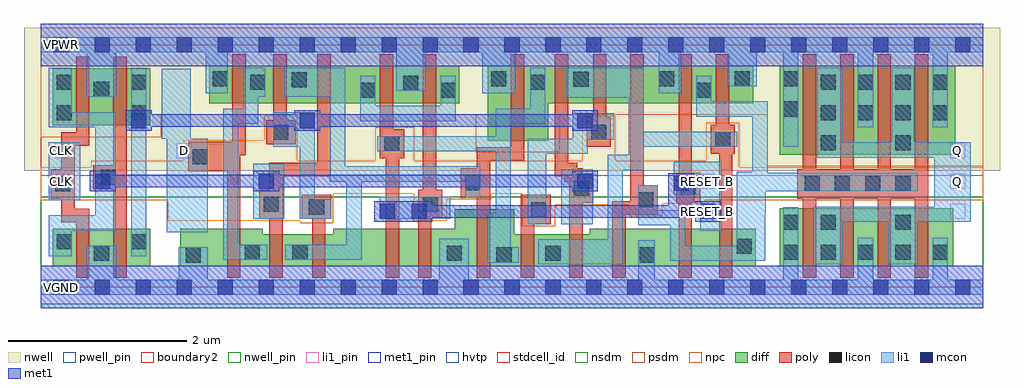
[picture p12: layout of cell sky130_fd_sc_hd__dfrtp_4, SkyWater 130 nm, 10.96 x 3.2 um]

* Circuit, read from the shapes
.subckt sky130_fd_sc_hd__dfrtp_4 CLK D Q RESET_B VGND VNB VPB VPWR
XM1 VGND CLK n1 VNB sky130_fd_pr__nfet_01v8 w=0.42 l=0.15
XM2 n2 n1 VGND VNB sky130_fd_pr__nfet_01v8 w=0.42 l=0.15
XM3 n3 D VGND VNB sky130_fd_pr__nfet_01v8 w=0.42 l=0.15
XM4 n4 n1 n3 VNB sky130_fd_pr__nfet_01v8 w=0.36 l=0.15
XM5 n5 n2 n4 VNB sky130_fd_pr__nfet_01v8 w=0.36 l=0.15
XM6 n6 n7 n5 VNB sky130_fd_pr__nfet_01v8 w=0.42 l=0.15
XM7 VGND RESET_B n6 VNB sky130_fd_pr__nfet_01v8 w=0.42 l=0.15
XM8 n7 n4 VGND VNB sky130_fd_pr__nfet_01v8 w=0.64 l=0.15
XM9 n8 n2 n7 VNB sky130_fd_pr__nfet_01v8 w=0.36 l=0.15
XM10 n9 n1 n8 VNB sky130_fd_pr__nfet_01v8 w=0.36 l=0.15
XM11 VGND n10 n9 VNB sky130_fd_pr__nfet_01v8 w=0.42 l=0.15
XM12 n11 RESET_B VGND VNB sky130_fd_pr__nfet_01v8 w=0.42 l=0.15
XM13 n10 n8 n11 VNB sky130_fd_pr__nfet_01v8 w=0.42 l=0.15
XM14 Q n10 VGND VNB sky130_fd_pr__nfet_01v8 w=0.65 l=0.15 m=4
XM15 VPWR CLK n1 VPB sky130_fd_pr__pfet_01v8_hvt w=0.64 l=0.15
XM16 n2 n1 VPWR VPB sky130_fd_pr__pfet_01v8_hvt w=0.64 l=0.15
XM17 n3 D VPWR VPB sky130_fd_pr__pfet_01v8_hvt w=0.42 l=0.15
XM18 n4 n2 n3 VPB sky130_fd_pr__pfet_01v8_hvt w=0.42 l=0.15
XM19 n12 n1 n4 VPB sky130_fd_pr__pfet_01v8_hvt w=0.42 l=0.15
XM20 VPWR n7 n12 VPB sky130_fd_pr__pfet_01v8_hvt w=0.42 l=0.15
XM21 n12 RESET_B VPWR VPB sky130_fd_pr__pfet_01v8_hvt w=0.42 l=0.15
XM22 n7 n4 VPWR VPB sky130_fd_pr__pfet_01v8_hvt w=0.84 l=0.15
XM23 n8 n1 n7 VPB sky130_fd_pr__pfet_01v8_hvt w=0.42 l=0.15
XM24 n13 n2 n8 VPB sky130_fd_pr__pfet_01v8_hvt w=0.42 l=0.15
XM25 VPWR n10 n13 VPB sky130_fd_pr__pfet_01v8_hvt w=0.42 l=0.15
XM26 n10 RESET_B VPWR VPB sky130_fd_pr__pfet_01v8_hvt w=0.42 l=0.15
XM27 VPWR n8 n10 VPB sky130_fd_pr__pfet_01v8_hvt w=0.42 l=0.15
XM28 Q n10 VPWR VPB sky130_fd_pr__pfet_01v8_hvt w=1 l=0.15 m=4
.ends

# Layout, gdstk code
import gdstk
lib = gdstk.Library(unit=1e-6, precision=1e-09)
def R(c, l, rs):  # rectangles x0, y0, x1, y1
    for r in rs: c.add(gdstk.rectangle(r[:2], r[2:], *l))
def P(c, l, *ps):  # polygons
    for p in ps: c.add(gdstk.Polygon(p, *l))
nwell_pin = (64, 16)
nwell = (64, 20)
diff = (65, 20)
poly = (66, 20)
licon = (66, 44)
li1_pin = (67, 16)
li1 = (67, 20)
mcon = (67, 44)
met1_pin = (68, 16)
met1 = (68, 20)
hvtp = (78, 44)
stdcell_id = (81, 4)
nsdm = (93, 44)
psdm = (94, 20)
npc = (95, 20)
pwell_pin = (122, 16)
boundary2 = (236, 0)

sky130_fd_sc_hd__dfrtp_4 = lib.new_cell('sky130_fd_sc_hd__dfrtp_4')
R(sky130_fd_sc_hd__dfrtp_4, nwell_pin, [(0.145,2.635,0.315,2.805), (0.145,2.635,0.315,2.805)])
R(sky130_fd_sc_hd__dfrtp_4, nwell, [(-0.19,1.305,10.77,2.91), (-0.19,1.305,10.77,2.91)])
R(sky130_fd_sc_hd__dfrtp_4, diff, [(0.135,0.235,1.225,0.655), (0.135,0.235,1.225,0.655), (8.295,0.235,10.245,0.885), (8.295,0.235,10.245,0.885), (8.295,1.485,10.27,2.485), (8.295,1.485,10.27,2.485), (0.135,1.815,1.225,2.455), (0.135,1.815,1.225,2.455), (3.305,2.065,4.7,2.485), (3.305,2.065,4.7,2.485)])
P(sky130_fd_sc_hd__dfrtp_4, diff, [(5.015,1.645),(5.015,2.485),(8,2.485),(8,2.065),(5.695,2.065),(5.695,1.645)],
  [(1.565,0.235),(1.565,0.655),(2.49,0.655),(2.49,0.595),(3.285,0.595),(3.285,0.655),(4.645,0.655),(4.645,0.875),(5.315,0.875),(5.315,0.595),(6.165,0.595),(6.165,0.655),(8.025,0.655),(8.025,0.235)],
  [(1.89,2.065),(1.89,2.485),(3.335,2.485),(3.335,2.48),(3.33,2.48),(3.33,2.065)],
  [(5.015,1.645),(5.015,2.485),(8,2.485),(8,2.065),(5.695,2.065),(5.695,1.645)],
  [(1.565,0.235),(1.565,0.655),(2.49,0.655),(2.49,0.595),(3.285,0.595),(3.285,0.655),(4.645,0.655),(4.645,0.875),(5.315,0.875),(5.315,0.595),(6.165,0.595),(6.165,0.655),(8.025,0.655),(8.025,0.235)],
  [(1.89,2.065),(1.89,2.485),(3.335,2.485),(3.335,2.48),(3.33,2.48),(3.33,2.065)])
R(sky130_fd_sc_hd__dfrtp_4, poly, [(3.875,0.105,4.025,1.515), (3.875,0.105,4.025,1.515), (4.29,1.055,4.44,2.615), (4.29,1.055,4.44,2.615), (3.805,1.445,4.08,1.775), (3.805,1.445,4.08,1.775), (3.805,1.76,3.955,2.615), (3.805,1.76,3.955,2.615)])
P(sky130_fd_sc_hd__dfrtp_4, poly, [(7.615,0.105),(7.615,1.495),(7.52,1.495),(7.52,1.825),(7.58,1.825),(7.58,2.615),(7.73,2.615),(7.73,1.825),(7.79,1.825),(7.79,1.495),(7.765,1.495),(7.765,0.105)],
  [(0.395,0.105),(0.395,0.73),(0.23,0.73),(0.23,0.995),(0.11,0.995),(0.11,1.325),(0.23,1.325),(0.23,1.74),(0.395,1.74),(0.395,2.585),(0.545,2.585),(0.545,1.59),(0.38,1.59),(0.38,0.88),(0.545,0.88),(0.545,0.105)],
  [(0.815,0.105),(0.815,1.1),(0.59,1.1),(0.59,1.37),(0.815,1.37),(0.815,2.585),(0.965,2.585),(0.965,0.105)],
  [(2.09,0.105),(2.09,1.3),(1.655,1.3),(1.655,1.63),(2.15,1.63),(2.15,2.615),(2.3,2.615),(2.3,1.48),(2.24,1.48),(2.24,0.105)],
  [(2.565,0.105),(2.565,0.765),(2.45,0.765),(2.45,1.095),(2.565,1.095),(2.565,1.395),(3.105,1.395),(3.105,2.615),(3.255,2.615),(3.255,1.245),(2.72,1.245),(2.72,0.765),(2.715,0.765),(2.715,0.105)],
  [(2.53,1.605),(2.53,1.875),(2.61,1.875),(2.61,2.615),(2.76,2.615),(2.76,1.875),(2.86,1.875),(2.86,1.605)],
  [(3.045,0.105),(3.045,0.765),(2.93,0.765),(2.93,1.035),(3.26,1.035),(3.26,0.765),(3.195,0.765),(3.195,0.105)],
  [(4.235,0.105),(4.235,1.095),(4.505,1.095),(4.505,0.765),(4.385,0.765),(4.385,0.105)],
  [(4.895,0.105),(4.895,1.005),(4.715,1.005),(4.715,1.335),(4.895,1.335),(4.895,1.57),(5.275,1.57),(5.275,2.615),(5.425,2.615),(5.425,1.42),(5.045,1.42),(5.045,0.105)],
  [(5.39,0.105),(5.39,1.035),(5.725,1.035),(5.725,0.705),(5.54,0.705),(5.54,0.105)],
  [(5.935,0.105),(5.935,1.185),(5.875,1.185),(5.875,1.245),(5.77,1.245),(5.77,2.615),(5.92,2.615),(5.92,1.395),(6.02,1.395),(6.02,1.335),(6.085,1.335),(6.085,1.275),(6.205,1.275),(6.205,0.945),(6.085,0.945),(6.085,0.105)],
  [(6.13,1.575),(6.13,1.905),(6.2,1.905),(6.2,2.615),(6.35,2.615),(6.35,1.905),(6.4,1.905),(6.4,1.575)],
  [(6.415,0.105),(6.415,0.965),(6.62,0.965),(6.62,2.615),(6.77,2.615),(6.77,1.145),(6.925,1.145),(6.925,0.815),(6.565,0.815),(6.565,0.105)],
  [(7.16,0.105),(7.16,0.955),(7.135,0.955),(7.135,1.285),(7.16,1.285),(7.16,2.615),(7.31,2.615),(7.31,1.285),(7.405,1.285),(7.405,0.955),(7.31,0.955),(7.31,0.105)],
  [(8.555,0.105),(8.555,0.995),(8.495,0.995),(8.495,1.325),(8.555,1.325),(8.555,2.615),(8.705,2.615),(8.705,1.325),(8.975,1.325),(8.975,2.615),(9.125,2.615),(9.125,1.325),(9.395,1.325),(9.395,2.615),(9.545,2.615),(9.545,1.325),(9.815,1.325),(9.815,2.615),(9.965,2.615),(9.965,0.105),(9.815,0.105),(9.815,0.995),(9.545,0.995),(9.545,0.105),(9.395,0.105),(9.395,0.995),(9.125,0.995),(9.125,0.105),(8.975,0.105),(8.975,0.995),(8.705,0.995),(8.705,0.105)],
  [(7.615,0.105),(7.615,1.495),(7.52,1.495),(7.52,1.825),(7.58,1.825),(7.58,2.615),(7.73,2.615),(7.73,1.825),(7.79,1.825),(7.79,1.495),(7.765,1.495),(7.765,0.105)],
  [(0.395,0.105),(0.395,0.73),(0.23,0.73),(0.23,0.995),(0.11,0.995),(0.11,1.325),(0.23,1.325),(0.23,1.74),(0.395,1.74),(0.395,2.585),(0.545,2.585),(0.545,1.59),(0.38,1.59),(0.38,0.88),(0.545,0.88),(0.545,0.105)],
  [(0.815,0.105),(0.815,1.1),(0.59,1.1),(0.59,1.37),(0.815,1.37),(0.815,2.585),(0.965,2.585),(0.965,0.105)],
  [(2.09,0.105),(2.09,1.3),(1.655,1.3),(1.655,1.63),(2.15,1.63),(2.15,2.615),(2.3,2.615),(2.3,1.48),(2.24,1.48),(2.24,0.105)],
  [(2.565,0.105),(2.565,0.765),(2.45,0.765),(2.45,1.095),(2.565,1.095),(2.565,1.395),(3.105,1.395),(3.105,2.615),(3.255,2.615),(3.255,1.245),(2.72,1.245),(2.72,0.765),(2.715,0.765),(2.715,0.105)],
  [(2.53,1.605),(2.53,1.875),(2.61,1.875),(2.61,2.615),(2.76,2.615),(2.76,1.875),(2.86,1.875),(2.86,1.605)],
  [(3.045,0.105),(3.045,0.765),(2.93,0.765),(2.93,1.035),(3.26,1.035),(3.26,0.765),(3.195,0.765),(3.195,0.105)],
  [(4.235,0.105),(4.235,1.095),(4.505,1.095),(4.505,0.765),(4.385,0.765),(4.385,0.105)],
  [(4.895,0.105),(4.895,1.005),(4.715,1.005),(4.715,1.335),(4.895,1.335),(4.895,1.57),(5.275,1.57),(5.275,2.615),(5.425,2.615),(5.425,1.42),(5.045,1.42),(5.045,0.105)],
  [(5.39,0.105),(5.39,1.035),(5.725,1.035),(5.725,0.705),(5.54,0.705),(5.54,0.105)],
  [(5.935,0.105),(5.935,1.185),(5.875,1.185),(5.875,1.245),(5.77,1.245),(5.77,2.615),(5.92,2.615),(5.92,1.395),(6.02,1.395),(6.02,1.335),(6.085,1.335),(6.085,1.275),(6.205,1.275),(6.205,0.945),(6.085,0.945),(6.085,0.105)],
  [(6.13,1.575),(6.13,1.905),(6.2,1.905),(6.2,2.615),(6.35,2.615),(6.35,1.905),(6.4,1.905),(6.4,1.575)],
  [(6.415,0.105),(6.415,0.965),(6.62,0.965),(6.62,2.615),(6.77,2.615),(6.77,1.145),(6.925,1.145),(6.925,0.815),(6.565,0.815),(6.565,0.105)],
  [(7.16,0.105),(7.16,0.955),(7.135,0.955),(7.135,1.285),(7.16,1.285),(7.16,2.615),(7.31,2.615),(7.31,1.285),(7.405,1.285),(7.405,0.955),(7.31,0.955),(7.31,0.105)],
  [(8.555,0.105),(8.555,0.995),(8.495,0.995),(8.495,1.325),(8.555,1.325),(8.555,2.615),(8.705,2.615),(8.705,1.325),(8.975,1.325),(8.975,2.615),(9.125,2.615),(9.125,1.325),(9.395,1.325),(9.395,2.615),(9.545,2.615),(9.545,1.325),(9.815,1.325),(9.815,2.615),(9.965,2.615),(9.965,0.105),(9.815,0.105),(9.815,0.995),(9.545,0.995),(9.545,0.105),(9.395,0.105),(9.395,0.995),(9.125,0.995),(9.125,0.105),(8.975,0.105),(8.975,0.995),(8.705,0.995),(8.705,0.105)])
R(sky130_fd_sc_hd__dfrtp_4, licon, [(1.625,0.275,1.795,0.445), (1.625,0.275,1.795,0.445), (5.115,0.275,5.285,0.445), (5.115,0.275,5.285,0.445), (6.725,0.275,6.895,0.445), (6.725,0.275,6.895,0.445), (0.595,0.295,0.765,0.465), (0.595,0.295,0.765,0.465), (4.555,0.295,4.725,0.465), (4.555,0.295,4.725,0.465), (5.665,0.295,5.835,0.465), (5.665,0.295,5.835,0.465), (2.29,0.305,2.46,0.475), (2.29,0.305,2.46,0.475), (2.825,0.305,2.995,0.475), (2.825,0.305,2.995,0.475), (8.335,0.305,8.505,0.475), (8.335,0.305,8.505,0.475), (8.755,0.305,8.925,0.475), (8.755,0.305,8.925,0.475), (9.175,0.305,9.345,0.475), (9.175,0.305,9.345,0.475), (9.595,0.305,9.765,0.475), (9.595,0.305,9.765,0.475), (10.015,0.305,10.185,0.475), (10.015,0.305,10.185,0.475), (7.815,0.375,7.985,0.545), (7.815,0.375,7.985,0.545), (0.175,0.425,0.345,0.595), (0.175,0.425,0.345,0.595), (1.015,0.425,1.185,0.595), (1.015,0.425,1.185,0.595), (8.335,0.645,8.505,0.815), (8.335,0.645,8.505,0.815), (8.755,0.645,8.925,0.815), (8.755,0.645,8.925,0.815), (9.595,0.645,9.765,0.815), (9.595,0.645,9.765,0.815), (5.505,0.785,5.675,0.955), (5.505,0.785,5.675,0.955), (3.01,0.815,3.18,0.985), (3.01,0.815,3.18,0.985), (2.5,0.845,2.67,1.015), (2.5,0.845,2.67,1.015), (4.285,0.845,4.455,1.015), (4.285,0.845,4.455,1.015), (6.705,0.895,6.875,1.065), (6.705,0.895,6.875,1.065), (5.985,1.025,6.155,1.195), (5.985,1.025,6.155,1.195), (7.185,1.035,7.355,1.205), (7.185,1.035,7.355,1.205), (0.16,1.075,0.33,1.245), (0.16,1.075,0.33,1.245), (8.575,1.075,8.745,1.245), (8.575,1.075,8.745,1.245), (8.915,1.075,9.085,1.245), (8.915,1.075,9.085,1.245), (9.255,1.075,9.425,1.245), (9.255,1.075,9.425,1.245), (9.595,1.075,9.765,1.245), (9.595,1.075,9.765,1.245), (4.765,1.085,4.935,1.255), (4.765,1.085,4.935,1.255), (0.67,1.15,0.84,1.32), (0.67,1.15,0.84,1.32), (1.705,1.38,1.875,1.55), (1.705,1.38,1.875,1.55), (3.855,1.525,4.025,1.695), (3.855,1.525,4.025,1.695), (8.755,1.535,8.925,1.705), (8.755,1.535,8.925,1.705), (9.595,1.535,9.765,1.705), (9.595,1.535,9.765,1.705), (7.57,1.575,7.74,1.745), (7.57,1.575,7.74,1.745), (2.61,1.655,2.78,1.825), (2.61,1.655,2.78,1.825), (6.18,1.655,6.35,1.825), (6.18,1.655,6.35,1.825), (0.175,1.875,0.345,2.045), (0.175,1.875,0.345,2.045), (1.015,1.875,1.185,2.045), (1.015,1.875,1.185,2.045), (8.755,1.875,8.925,2.045), (8.755,1.875,8.925,2.045), (9.175,1.875,9.345,2.045), (9.175,1.875,9.345,2.045), (9.595,1.875,9.765,2.045), (9.595,1.875,9.765,2.045), (10.015,1.875,10.185,2.045), (10.015,1.875,10.185,2.045), (8.335,1.915,8.505,2.085), (8.335,1.915,8.505,2.085), (3.585,2.125,3.755,2.295), (3.585,2.125,3.755,2.295), (4.49,2.125,4.66,2.295), (4.49,2.125,4.66,2.295), (7.36,2.125,7.53,2.295), (7.36,2.125,7.53,2.295), (0.595,2.135,0.765,2.305), (0.595,2.135,0.765,2.305), (4.07,2.205,4.24,2.375), (4.07,2.205,4.24,2.375), (0.175,2.215,0.345,2.385), (0.175,2.215,0.345,2.385), (1.015,2.215,1.185,2.385), (1.015,2.215,1.185,2.385), (2.35,2.215,2.52,2.385), (2.35,2.215,2.52,2.385), (5.495,2.215,5.665,2.385), (5.495,2.215,5.665,2.385), (8.755,2.215,8.925,2.385), (8.755,2.215,8.925,2.385), (9.175,2.215,9.345,2.385), (9.175,2.215,9.345,2.385), (9.595,2.215,9.765,2.385), (9.595,2.215,9.765,2.385), (10.015,2.215,10.185,2.385), (10.015,2.215,10.185,2.385), (2.815,2.245,2.985,2.415), (2.815,2.245,2.985,2.415), (5.98,2.25,6.15,2.42), (5.98,2.25,6.15,2.42), (1.93,2.255,2.1,2.425), (1.93,2.255,2.1,2.425), (5.055,2.255,5.225,2.425), (5.055,2.255,5.225,2.425), (6.94,2.255,7.11,2.425), (6.94,2.255,7.11,2.425), (7.79,2.255,7.96,2.425), (7.79,2.255,7.96,2.425), (8.335,2.255,8.505,2.425), (8.335,2.255,8.505,2.425)])
R(sky130_fd_sc_hd__dfrtp_4, li1_pin, [(7.405,0.765,7.575,0.935), (7.405,0.765,7.575,0.935), (10.21,0.765,10.38,0.935), (10.21,0.765,10.38,0.935), (0.15,1.105,0.32,1.275), (0.15,1.105,0.32,1.275), (7.405,1.105,7.575,1.275), (7.405,1.105,7.575,1.275), (10.21,1.105,10.38,1.275), (10.21,1.105,10.38,1.275), (0.15,1.445,0.32,1.615), (0.15,1.445,0.32,1.615), (1.525,1.445,1.695,1.615), (1.525,1.445,1.695,1.615), (10.21,1.445,10.38,1.615), (10.21,1.445,10.38,1.615)])
R(sky130_fd_sc_hd__dfrtp_4, li1, [(0,-0.085,9.2,0.085), (0,-0.085,9.2,0.085), (9.175,-0.085,9.345,0.555), (9.175,-0.085,9.345,0.555), (10.015,-0.085,10.185,0.555), (10.015,-0.085,10.185,0.555), (8.335,-0.04,8.505,0.895), (8.335,-0.04,8.505,0.895), (1.545,-0.03,1.875,0.445), (1.545,-0.03,1.875,0.445), (4.475,0.055,4.805,0.545), (4.475,0.055,4.805,0.545), (0.515,0.06,0.845,0.465), (0.515,0.06,0.845,0.465), (6.705,0.065,6.895,0.525), (6.705,0.065,6.895,0.525), (1.015,0.345,1.185,2.465), (1.015,0.345,1.185,2.465), (1.415,0.615,1.875,1.665), (1.415,0.615,1.875,1.665), (5.845,0.705,6.195,1.325), (5.845,0.705,6.195,1.325), (2.385,0.765,2.735,1.385), (2.385,0.765,2.735,1.385), (3.805,0.765,4.595,1.015), (3.805,0.765,4.595,1.015), (0.09,0.975,0.44,1.625), (0.09,0.975,0.44,1.625), (3.775,1.525,5.13,1.695), (3.775,1.525,5.13,1.695), (8.335,1.575,8.505,2.72), (8.335,1.575,8.505,2.72), (1.355,1.665,1.68,2.45), (1.355,1.665,1.68,2.45), (9.175,1.795,9.345,2.72), (9.175,1.795,9.345,2.72), (10.015,1.795,10.185,2.72), (10.015,1.795,10.185,2.72), (0.515,2.135,0.845,2.665), (0.515,2.135,0.845,2.665), (4.955,2.175,5.325,2.675), (4.955,2.175,5.325,2.675), (6.94,2.175,7.19,2.69), (6.94,2.175,7.19,2.69), (3.99,2.205,4.32,2.69), (3.99,2.205,4.32,2.69), (7.71,2.255,8.04,2.7), (7.71,2.255,8.04,2.7)])
P(sky130_fd_sc_hd__dfrtp_4, li1, [(0.09,0.345),(0.09,0.805),(0.61,0.805),(0.61,1.795),(0.09,1.795),(0.09,2.465),(0.345,2.465),(0.345,1.965),(0.84,1.965),(0.84,0.635),(0.345,0.635),(0.345,0.345)],
  [(2.045,0.305),(2.045,2.005),(2.27,2.005),(2.27,2.465),(2.52,2.465),(2.52,2.135),(2.44,2.135),(2.44,1.835),(2.215,1.835),(2.215,0.475),(2.54,0.475),(2.54,0.305)],
  [(2.905,0.765),(2.905,1.575),(2.61,1.575),(2.61,1.965),(3.075,1.965),(3.075,0.985),(3.26,0.985),(3.26,0.765)],
  [(2.745,0.305),(2.745,0.475),(3.43,0.475),(3.43,1.185),(3.245,1.185),(3.245,2.135),(2.735,2.135),(2.735,2.465),(3.415,2.465),(3.415,1.355),(4.935,1.355),(4.935,1.005),(4.765,1.005),(4.765,1.185),(3.6,1.185),(3.6,0.305)],
  [(5.015,0.275),(5.015,0.835),(5.105,0.835),(5.105,2.005),(5.495,2.005),(5.495,2.465),(5.665,2.465),(5.665,1.835),(5.275,1.835),(5.275,0.445),(5.365,0.445),(5.365,0.275)],
  [(5.465,0.705),(5.465,1.665),(5.97,1.665),(5.97,1.955),(6.43,1.955),(6.43,1.655),(6.14,1.655),(6.14,1.495),(5.675,1.495),(5.675,0.705)],
  [(7.405,0.635),(7.405,1.035),(7.105,1.035),(7.105,1.405),(7.645,1.405),(7.645,0.635)],
  [(5.585,0.255),(5.585,0.535),(6.365,0.535),(6.365,1.485),(6.6,1.485),(6.6,2.125),(5.9,2.125),(5.9,2.465),(6.77,2.465),(6.77,1.745),(7.82,1.745),(7.82,1.575),(6.77,1.575),(6.77,1.315),(6.535,1.315),(6.535,0.255)],
  [(1.85,2.175),(1.85,2.635),(0,2.635),(0,2.805),(9.2,2.805),(9.2,2.635),(2.1,2.635),(2.1,2.175)],
  [(7.065,0.295),(7.065,0.695),(6.705,0.695),(6.705,1.145),(6.925,1.145),(6.925,0.865),(7.235,0.865),(7.235,0.465),(7.815,0.465),(7.815,1.295),(7.99,1.295),(7.99,1.915),(7.36,1.915),(7.36,2.375),(7.53,2.375),(7.53,2.085),(8.16,2.085),(8.16,1.285),(9.845,1.285),(9.845,1.075),(8.14,1.075),(8.14,0.82),(8.135,0.82),(8.135,0.295)],
  [(8.675,0.255),(8.675,0.905),(10.03,0.905),(10.03,1.455),(8.715,1.455),(8.715,2.465),(9.005,2.465),(9.005,1.625),(9.555,1.625),(9.555,2.465),(9.805,2.465),(9.805,1.625),(10.44,1.625),(10.44,0.735),(9.845,0.735),(9.845,0.255),(9.515,0.255),(9.515,0.735),(9.005,0.735),(9.005,0.255)],
  [(3.585,1.865),(3.585,2.375),(3.755,2.375),(3.755,2.035),(4.49,2.035),(4.49,2.375),(4.66,2.375),(4.66,1.865)],
  [(0.09,0.345),(0.09,0.805),(0.61,0.805),(0.61,1.795),(0.09,1.795),(0.09,2.465),(0.345,2.465),(0.345,1.965),(0.84,1.965),(0.84,0.635),(0.345,0.635),(0.345,0.345)],
  [(2.045,0.305),(2.045,2.005),(2.27,2.005),(2.27,2.465),(2.52,2.465),(2.52,2.135),(2.44,2.135),(2.44,1.835),(2.215,1.835),(2.215,0.475),(2.54,0.475),(2.54,0.305)],
  [(2.905,0.765),(2.905,1.575),(2.61,1.575),(2.61,1.965),(3.075,1.965),(3.075,0.985),(3.26,0.985),(3.26,0.765)],
  [(2.745,0.305),(2.745,0.475),(3.43,0.475),(3.43,1.185),(3.245,1.185),(3.245,2.135),(2.735,2.135),(2.735,2.465),(3.415,2.465),(3.415,1.355),(4.935,1.355),(4.935,1.005),(4.765,1.005),(4.765,1.185),(3.6,1.185),(3.6,0.305)],
  [(5.015,0.275),(5.015,0.835),(5.105,0.835),(5.105,2.005),(5.495,2.005),(5.495,2.465),(5.665,2.465),(5.665,1.835),(5.275,1.835),(5.275,0.445),(5.365,0.445),(5.365,0.275)],
  [(5.465,0.705),(5.465,1.665),(5.97,1.665),(5.97,1.955),(6.43,1.955),(6.43,1.655),(6.14,1.655),(6.14,1.495),(5.675,1.495),(5.675,0.705)],
  [(7.405,0.635),(7.405,1.035),(7.105,1.035),(7.105,1.405),(7.645,1.405),(7.645,0.635)],
  [(5.585,0.255),(5.585,0.535),(6.365,0.535),(6.365,1.485),(6.6,1.485),(6.6,2.125),(5.9,2.125),(5.9,2.465),(6.77,2.465),(6.77,1.745),(7.82,1.745),(7.82,1.575),(6.77,1.575),(6.77,1.315),(6.535,1.315),(6.535,0.255)],
  [(1.85,2.175),(1.85,2.635),(0,2.635),(0,2.805),(9.2,2.805),(9.2,2.635),(2.1,2.635),(2.1,2.175)],
  [(7.065,0.295),(7.065,0.695),(6.705,0.695),(6.705,1.145),(6.925,1.145),(6.925,0.865),(7.235,0.865),(7.235,0.465),(7.815,0.465),(7.815,1.295),(7.99,1.295),(7.99,1.915),(7.36,1.915),(7.36,2.375),(7.53,2.375),(7.53,2.085),(8.16,2.085),(8.16,1.285),(9.845,1.285),(9.845,1.075),(8.14,1.075),(8.14,0.82),(8.135,0.82),(8.135,0.295)],
  [(8.675,0.255),(8.675,0.905),(10.03,0.905),(10.03,1.455),(8.715,1.455),(8.715,2.465),(9.005,2.465),(9.005,1.625),(9.555,1.625),(9.555,2.465),(9.805,2.465),(9.805,1.625),(10.44,1.625),(10.44,0.735),(9.845,0.735),(9.845,0.255),(9.515,0.255),(9.515,0.735),(9.005,0.735),(9.005,0.255)],
  [(3.585,1.865),(3.585,2.375),(3.755,2.375),(3.755,2.035),(4.49,2.035),(4.49,2.375),(4.66,2.375),(4.66,1.865)])
R(sky130_fd_sc_hd__dfrtp_4, mcon, [(0.145,-0.085,0.315,0.085), (0.145,-0.085,0.315,0.085), (0.605,-0.085,0.775,0.085), (0.605,-0.085,0.775,0.085), (1.065,-0.085,1.235,0.085), (1.065,-0.085,1.235,0.085), (1.525,-0.085,1.695,0.085), (1.525,-0.085,1.695,0.085), (1.985,-0.085,2.155,0.085), (1.985,-0.085,2.155,0.085), (2.445,-0.085,2.615,0.085), (2.445,-0.085,2.615,0.085), (2.905,-0.085,3.075,0.085), (2.905,-0.085,3.075,0.085), (3.365,-0.085,3.535,0.085), (3.365,-0.085,3.535,0.085), (3.825,-0.085,3.995,0.085), (3.825,-0.085,3.995,0.085), (4.285,-0.085,4.455,0.085), (4.285,-0.085,4.455,0.085), (4.745,-0.085,4.915,0.085), (4.745,-0.085,4.915,0.085), (5.205,-0.085,5.375,0.085), (5.205,-0.085,5.375,0.085), (5.665,-0.085,5.835,0.085), (5.665,-0.085,5.835,0.085), (6.125,-0.085,6.295,0.085), (6.125,-0.085,6.295,0.085), (6.585,-0.085,6.755,0.085), (6.585,-0.085,6.755,0.085), (7.045,-0.085,7.215,0.085), (7.045,-0.085,7.215,0.085), (7.505,-0.085,7.675,0.085), (7.505,-0.085,7.675,0.085), (7.965,-0.085,8.135,0.085), (7.965,-0.085,8.135,0.085), (8.425,-0.085,8.595,0.085), (8.425,-0.085,8.595,0.085), (8.885,-0.085,9.055,0.085), (8.885,-0.085,9.055,0.085), (9.345,-0.085,9.515,0.085), (9.345,-0.085,9.515,0.085), (9.805,-0.085,9.975,0.085), (9.805,-0.085,9.975,0.085), (10.265,-0.085,10.435,0.085), (10.265,-0.085,10.435,0.085), (3.805,0.765,3.975,0.935), (3.805,0.765,3.975,0.935), (4.165,0.765,4.335,0.935), (4.165,0.765,4.335,0.935), (7.405,0.765,7.575,0.935), (7.405,0.765,7.575,0.935), (7.105,1.08,7.275,1.25), (7.105,1.08,7.275,1.25), (0.61,1.105,0.78,1.275), (0.61,1.105,0.78,1.275), (2.445,1.105,2.615,1.275), (2.445,1.105,2.615,1.275), (6.025,1.105,6.195,1.275), (6.025,1.105,6.195,1.275), (1.015,1.785,1.185,1.955), (1.015,1.785,1.185,1.955), (2.905,1.785,3.075,1.955), (2.905,1.785,3.075,1.955), (6.025,1.785,6.195,1.955), (6.025,1.785,6.195,1.955), (0.145,2.635,0.315,2.805), (0.145,2.635,0.315,2.805), (0.605,2.635,0.775,2.805), (0.605,2.635,0.775,2.805), (1.065,2.635,1.235,2.805), (1.065,2.635,1.235,2.805), (1.525,2.635,1.695,2.805), (1.525,2.635,1.695,2.805), (1.985,2.635,2.155,2.805), (1.985,2.635,2.155,2.805), (2.445,2.635,2.615,2.805), (2.445,2.635,2.615,2.805), (2.905,2.635,3.075,2.805), (2.905,2.635,3.075,2.805), (3.365,2.635,3.535,2.805), (3.365,2.635,3.535,2.805), (3.825,2.635,3.995,2.805), (3.825,2.635,3.995,2.805), (4.285,2.635,4.455,2.805), (4.285,2.635,4.455,2.805), (4.745,2.635,4.915,2.805), (4.745,2.635,4.915,2.805), (5.205,2.635,5.375,2.805), (5.205,2.635,5.375,2.805), (5.665,2.635,5.835,2.805), (5.665,2.635,5.835,2.805), (6.125,2.635,6.295,2.805), (6.125,2.635,6.295,2.805), (6.585,2.635,6.755,2.805), (6.585,2.635,6.755,2.805), (7.045,2.635,7.215,2.805), (7.045,2.635,7.215,2.805), (7.505,2.635,7.675,2.805), (7.505,2.635,7.675,2.805), (7.965,2.635,8.135,2.805), (7.965,2.635,8.135,2.805), (8.425,2.635,8.595,2.805), (8.425,2.635,8.595,2.805), (8.885,2.635,9.055,2.805), (8.885,2.635,9.055,2.805), (9.345,2.635,9.515,2.805), (9.345,2.635,9.515,2.805), (9.805,2.635,9.975,2.805), (9.805,2.635,9.975,2.805), (10.265,2.635,10.435,2.805), (10.265,2.635,10.435,2.805)])
R(sky130_fd_sc_hd__dfrtp_4, met1_pin, [(0.145,-0.085,0.315,0.085), (0.145,-0.085,0.315,0.085), (0.145,2.635,0.315,2.805), (0.145,2.635,0.315,2.805)])
R(sky130_fd_sc_hd__dfrtp_4, met1, [(7.045,0.91,7.335,1.28), (7.045,0.91,7.335,1.28), (0.55,1.075,0.84,1.305), (0.55,1.075,0.84,1.305), (5.965,1.075,6.255,1.305), (5.965,1.075,6.255,1.305), (0.955,1.755,1.245,1.985), (0.955,1.755,1.245,1.985), (5.965,1.755,6.255,1.985), (5.965,1.755,6.255,1.985)])
P(sky130_fd_sc_hd__dfrtp_4, met1, [(3.745,0.735),(3.745,0.965),(4.395,0.965),(4.395,0.92),(7.335,0.92),(7.335,0.965),(7.635,0.965),(7.635,0.735),(7.345,0.735),(7.345,0.78),(4.395,0.78),(4.395,0.735)],
  [(2.845,1.755),(2.845,1.8),(1.185,1.8),(1.185,1.94),(2.845,1.94),(2.845,1.985),(3.135,1.985),(3.135,1.94),(6.075,1.94),(6.075,1.8),(3.135,1.8),(3.135,1.755)],
  [(2.385,1.075),(2.385,1.12),(0.82,1.12),(0.82,1.26),(2.385,1.26),(2.385,1.305),(2.675,1.305),(2.675,1.26),(6.045,1.26),(6.045,1.12),(2.675,1.12),(2.675,1.075)],
  [(3.745,0.735),(3.745,0.965),(4.395,0.965),(4.395,0.92),(7.335,0.92),(7.335,0.965),(7.635,0.965),(7.635,0.735),(7.345,0.735),(7.345,0.78),(4.395,0.78),(4.395,0.735)],
  [(2.845,1.755),(2.845,1.8),(1.185,1.8),(1.185,1.94),(2.845,1.94),(2.845,1.985),(3.135,1.985),(3.135,1.94),(6.075,1.94),(6.075,1.8),(3.135,1.8),(3.135,1.755)],
  [(2.385,1.075),(2.385,1.12),(0.82,1.12),(0.82,1.26),(2.385,1.26),(2.385,1.305),(2.675,1.305),(2.675,1.26),(6.045,1.26),(6.045,1.12),(2.675,1.12),(2.675,1.075)])
R(sky130_fd_sc_hd__dfrtp_4, hvtp, [(0,1.25,9.2,2.72), (0,1.25,9.2,2.72), (9.2,1.25,9.66,2.72), (9.2,1.25,9.66,2.72), (9.66,1.25,10.12,2.72), (9.66,1.25,10.12,2.72), (10.12,1.25,10.58,2.72), (10.12,1.25,10.58,2.72)])
R(sky130_fd_sc_hd__dfrtp_4, stdcell_id, [(0,0,10.58,2.72), (0,0,10.58,2.72)])
R(sky130_fd_sc_hd__dfrtp_4, nsdm, [(0,-0.19,10.58,1.015), (0,-0.19,10.58,1.015)])
P(sky130_fd_sc_hd__dfrtp_4, psdm, [(8.155,1.355),(8.155,1.935),(5.825,1.935),(5.825,1.515),(4.885,1.515),(4.885,1.935),(1.35,1.935),(1.35,1.685),(0,1.685),(0,2.91),(10.58,2.91),(10.58,1.355)],
  [(8.155,1.355),(8.155,1.935),(5.825,1.935),(5.825,1.515),(4.885,1.515),(4.885,1.935),(1.35,1.935),(1.35,1.685),(0,1.685),(0,2.91),(10.58,2.91),(10.58,1.355)])
R(sky130_fd_sc_hd__dfrtp_4, npc, [(3.755,1.365,4.195,1.795), (3.755,1.365,4.195,1.795)])
P(sky130_fd_sc_hd__dfrtp_4, npc, [(5.405,0.685),(5.405,1.05),(5.055,1.05),(5.055,0.985),(4.555,0.985),(4.555,0.745),(4.185,0.745),(4.185,1.05),(3.28,1.05),(3.28,0.715),(2.91,0.715),(2.91,0.745),(1.425,0.745),(1.425,0.975),(0,0.975),(0,1.345),(0.565,1.345),(0.565,1.42),(1.6,1.42),(1.6,1.65),(2.51,1.65),(2.51,1.925),(2.88,1.925),(2.88,1.42),(6.08,1.42),(6.08,1.925),(6.45,1.925),(6.45,1.42),(7.47,1.42),(7.47,1.845),(7.84,1.845),(7.84,1.345),(10.58,1.345),(10.58,0.975),(7.455,0.975),(7.455,0.935),(6.975,0.935),(6.975,0.795),(6.605,0.795),(6.605,0.925),(5.775,0.925),(5.775,0.685)],
  [(5.405,0.685),(5.405,1.05),(5.055,1.05),(5.055,0.985),(4.555,0.985),(4.555,0.745),(4.185,0.745),(4.185,1.05),(3.28,1.05),(3.28,0.715),(2.91,0.715),(2.91,0.745),(1.425,0.745),(1.425,0.975),(0,0.975),(0,1.345),(0.565,1.345),(0.565,1.42),(1.6,1.42),(1.6,1.65),(2.51,1.65),(2.51,1.925),(2.88,1.925),(2.88,1.42),(6.08,1.42),(6.08,1.925),(6.45,1.925),(6.45,1.42),(7.47,1.42),(7.47,1.845),(7.84,1.845),(7.84,1.345),(10.58,1.345),(10.58,0.975),(7.455,0.975),(7.455,0.935),(6.975,0.935),(6.975,0.795),(6.605,0.795),(6.605,0.925),(5.775,0.925),(5.775,0.685)])
R(sky130_fd_sc_hd__dfrtp_4, pwell_pin, [(0.145,-0.085,0.315,0.085), (0.145,-0.085,0.315,0.085)])
R(sky130_fd_sc_hd__dfrtp_4, boundary2, [(0,0,10.58,2.72), (0,0,10.58,2.72)])
sky130_fd_sc_hd__dfrtp_4.add(gdstk.FlexPath([(0,0),(9.2,0)], 0.48, ends="flush", simple_path=True, layer=68, datatype=20))  # met1
sky130_fd_sc_hd__dfrtp_4.add(gdstk.FlexPath([(0,2.72),(9.2,2.72)], 0.48, ends="flush", simple_path=True, layer=68, datatype=20))  # met1
sky130_fd_sc_hd__dfrtp_4.add(gdstk.FlexPath([(9.2,0),(9.66,0)], 0.48, ends="flush", simple_path=True, layer=68, datatype=20))  # met1
sky130_fd_sc_hd__dfrtp_4.add(gdstk.FlexPath([(9.2,2.72),(9.66,2.72)], 0.48, ends="flush", simple_path=True, layer=68, datatype=20))  # met1
sky130_fd_sc_hd__dfrtp_4.add(gdstk.FlexPath([(10.12,0),(10.58,0)], 0.48, ends="flush", simple_path=True, layer=68, datatype=20))  # met1
sky130_fd_sc_hd__dfrtp_4.add(gdstk.FlexPath([(10.12,2.72),(10.58,2.72)], 0.48, ends="flush", simple_path=True, layer=68, datatype=20))  # met1
sky130_fd_sc_hd__dfrtp_4.add(gdstk.FlexPath([(9.66,0),(10.12,0)], 0.48, ends="flush", simple_path=True, layer=68, datatype=20))  # met1
sky130_fd_sc_hd__dfrtp_4.add(gdstk.FlexPath([(9.66,2.72),(10.12,2.72)], 0.48, ends="flush", simple_path=True, layer=68, datatype=20))  # met1
sky130_fd_sc_hd__dfrtp_4.add(gdstk.FlexPath([(0,0),(9.2,0)], 0.48, ends="flush", simple_path=True, layer=68, datatype=20))  # met1
sky130_fd_sc_hd__dfrtp_4.add(gdstk.FlexPath([(0,2.72),(9.2,2.72)], 0.48, ends="flush", simple_path=True, layer=68, datatype=20))  # met1
sky130_fd_sc_hd__dfrtp_4.add(gdstk.FlexPath([(9.2,0),(9.66,0)], 0.48, ends="flush", simple_path=True, layer=68, datatype=20))  # met1
sky130_fd_sc_hd__dfrtp_4.add(gdstk.FlexPath([(9.2,2.72),(9.66,2.72)], 0.48, ends="flush", simple_path=True, layer=68, datatype=20))  # met1
sky130_fd_sc_hd__dfrtp_4.add(gdstk.FlexPath([(10.12,0),(10.58,0)], 0.48, ends="flush", simple_path=True, layer=68, datatype=20))  # met1
sky130_fd_sc_hd__dfrtp_4.add(gdstk.FlexPath([(10.12,2.72),(10.58,2.72)], 0.48, ends="flush", simple_path=True, layer=68, datatype=20))  # met1
sky130_fd_sc_hd__dfrtp_4.add(gdstk.FlexPath([(9.66,0),(10.12,0)], 0.48, ends="flush", simple_path=True, layer=68, datatype=20))  # met1
sky130_fd_sc_hd__dfrtp_4.add(gdstk.FlexPath([(9.66,2.72),(10.12,2.72)], 0.48, ends="flush", simple_path=True, layer=68, datatype=20))  # met1
sky130_fd_sc_hd__dfrtp_4.add(gdstk.FlexPath([(9.2,2.72),(9.66,2.72)], 0.17, ends="flush", simple_path=True, layer=67, datatype=20))  # li1
sky130_fd_sc_hd__dfrtp_4.add(gdstk.FlexPath([(9.2,0),(9.66,0)], 0.17, ends="flush", simple_path=True, layer=67, datatype=20))  # li1
sky130_fd_sc_hd__dfrtp_4.add(gdstk.FlexPath([(10.12,2.72),(10.58,2.72)], 0.17, ends="flush", simple_path=True, layer=67, datatype=20))  # li1
sky130_fd_sc_hd__dfrtp_4.add(gdstk.FlexPath([(10.12,0),(10.58,0)], 0.17, ends="flush", simple_path=True, layer=67, datatype=20))  # li1
sky130_fd_sc_hd__dfrtp_4.add(gdstk.FlexPath([(9.66,2.72),(10.12,2.72)], 0.17, ends="flush", simple_path=True, layer=67, datatype=20))  # li1
sky130_fd_sc_hd__dfrtp_4.add(gdstk.FlexPath([(9.66,0),(10.12,0)], 0.17, ends="flush", simple_path=True, layer=67, datatype=20))  # li1
sky130_fd_sc_hd__dfrtp_4.add(gdstk.FlexPath([(9.2,2.72),(9.66,2.72)], 0.17, ends="flush", simple_path=True, layer=67, datatype=20))  # li1
sky130_fd_sc_hd__dfrtp_4.add(gdstk.FlexPath([(9.2,0),(9.66,0)], 0.17, ends="flush", simple_path=True, layer=67, datatype=20))  # li1
sky130_fd_sc_hd__dfrtp_4.add(gdstk.FlexPath([(10.12,2.72),(10.58,2.72)], 0.17, ends="flush", simple_path=True, layer=67, datatype=20))  # li1
sky130_fd_sc_hd__dfrtp_4.add(gdstk.FlexPath([(10.12,0),(10.58,0)], 0.17, ends="flush", simple_path=True, layer=67, datatype=20))  # li1
sky130_fd_sc_hd__dfrtp_4.add(gdstk.FlexPath([(9.66,2.72),(10.12,2.72)], 0.17, ends="flush", simple_path=True, layer=67, datatype=20))  # li1
sky130_fd_sc_hd__dfrtp_4.add(gdstk.FlexPath([(9.66,0),(10.12,0)], 0.17, ends="flush", simple_path=True, layer=67, datatype=20))  # li1
sky130_fd_sc_hd__dfrtp_4.add(gdstk.Label('VGND', (0.23,0), layer=68, texttype=5))
sky130_fd_sc_hd__dfrtp_4.add(gdstk.Label('VPWR', (0.23,2.72), layer=68, texttype=5))
sky130_fd_sc_hd__dfrtp_4.add(gdstk.Label('VGND', (0.23,0), layer=68, texttype=5))
sky130_fd_sc_hd__dfrtp_4.add(gdstk.Label('VPWR', (0.23,2.72), layer=68, texttype=5))
sky130_fd_sc_hd__dfrtp_4.add(gdstk.Label('VPB', (0.23,2.72), layer=64, texttype=5))
sky130_fd_sc_hd__dfrtp_4.add(gdstk.Label('VPB', (0.23,2.72), layer=64, texttype=5))
sky130_fd_sc_hd__dfrtp_4.add(gdstk.Label('VNB', (0.23,0), layer=64, texttype=59))
sky130_fd_sc_hd__dfrtp_4.add(gdstk.Label('VNB', (0.23,0), layer=64, texttype=59))
sky130_fd_sc_hd__dfrtp_4.add(gdstk.Label('Q', (10.295,1.19), layer=67, texttype=5))
sky130_fd_sc_hd__dfrtp_4.add(gdstk.Label('Q', (10.295,1.53), layer=67, texttype=5))
sky130_fd_sc_hd__dfrtp_4.add(gdstk.Label('RESET_B', (7.49,0.85), layer=67, texttype=5))
sky130_fd_sc_hd__dfrtp_4.add(gdstk.Label('D', (1.61,1.53), layer=67, texttype=5))
sky130_fd_sc_hd__dfrtp_4.add(gdstk.Label('CLK', (0.235,1.53), layer=67, texttype=5))
sky130_fd_sc_hd__dfrtp_4.add(gdstk.Label('CLK', (0.235,1.19), layer=67, texttype=5))
sky130_fd_sc_hd__dfrtp_4.add(gdstk.Label('RESET_B', (7.49,1.19), layer=67, texttype=5))
sky130_fd_sc_hd__dfrtp_4.add(gdstk.Label('Q', (10.295,1.19), layer=67, texttype=5))
sky130_fd_sc_hd__dfrtp_4.add(gdstk.Label('Q', (10.295,1.53), layer=67, texttype=5))
sky130_fd_sc_hd__dfrtp_4.add(gdstk.Label('RESET_B', (7.49,0.85), layer=67, texttype=5))
sky130_fd_sc_hd__dfrtp_4.add(gdstk.Label('D', (1.61,1.53), layer=67, texttype=5))
sky130_fd_sc_hd__dfrtp_4.add(gdstk.Label('CLK', (0.235,1.53), layer=67, texttype=5))
sky130_fd_sc_hd__dfrtp_4.add(gdstk.Label('CLK', (0.235,1.19), layer=67, texttype=5))
sky130_fd_sc_hd__dfrtp_4.add(gdstk.Label('RESET_B', (7.49,1.19), layer=67, texttype=5))
sky130_fd_sc_hd__dfrtp_4.add(gdstk.Label('dfrtp_4', (0,0), layer=83, texttype=44))
sky130_fd_sc_hd__dfrtp_4.add(gdstk.Label('dfrtp_4', (0,0), layer=83, texttype=44))

lib.write_gds('sky130_fd_sc_hd__dfrtp_4.gds')
